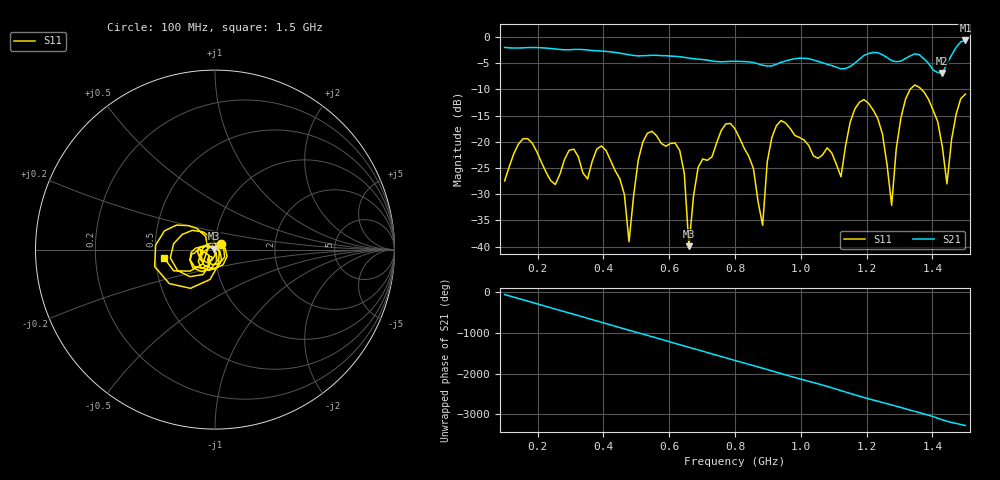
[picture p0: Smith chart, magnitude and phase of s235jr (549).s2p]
! NanoVNA-App
! Date: 2025-09-25 15:08:26
! Start: 100MHz Stop: 1,5GHz Points: 101
! S-Parameter data: F S11 S21 S12 S22
# Hz S RI R 50
!  Frequency  S11_Real  S11_Imag  S21_Real  S21_Imag  S12_Real  S12_Imag  S22_Real  S22_Imag
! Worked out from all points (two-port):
!   101 points, 100 MHz to 1.5 GHz, reference 50 ohm
!   highest |S21| = -0.63 dB at 1.5 GHz (marker M1); lowest = -6.8 dB at 1.43 GHz (marker M2)
!   |S21| within 3 dB of the highest: start of sweep to 609.1 MHz; 1.189 GHz to 1.255 GHz (65.88 MHz wide, 5.39 % of centre) (the widest 2 of 4)
!   lowest |S11| = -39.9 dB at 660 MHz (marker M3), VSWR 1.02, Z = 49.2 + j0.6 ohm
!   |S11| at or under -10 dB: start of sweep to 1.332 GHz; 1.367 GHz to end of sweep
!   S12 and S22 are empty: the file has one direction only
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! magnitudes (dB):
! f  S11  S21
! 100 MHz  -27.5  -2.0
! 156 MHz  -19.4  -2.0
! 338 MHz  -25.9  -2.4
! 408 MHz  -21.6  -2.7
! 478 MHz  -39.1  -3.4
! 520 MHz  -20.0  -3.5
! 576 MHz  -20.3  -3.5
! 632 MHz  -21.6  -3.7
! 660 MHz  -39.9  -4.0
! 688 MHz  -24.9  -4.2
! 800 MHz  -17.5  -4.6
! 884 MHz  -35.9  -5.4
! 926 MHz  -16.9  -5.2
! 1.038 GHz  -22.7  -4.3
! 1.122 GHz  -26.7  -6.1
! 1.192 GHz  -11.9  -3.5
! 1.248 GHz  -18.5  -3.4
! 1.276 GHz  -32.1  -4.5
! 1.332 GHz  -10.0  -3.6
! 1.43 GHz  -21.0  -6.8
! 1.444 GHz  -28.0  -5.1
! 1.5 GHz  -10.9  -0.6
